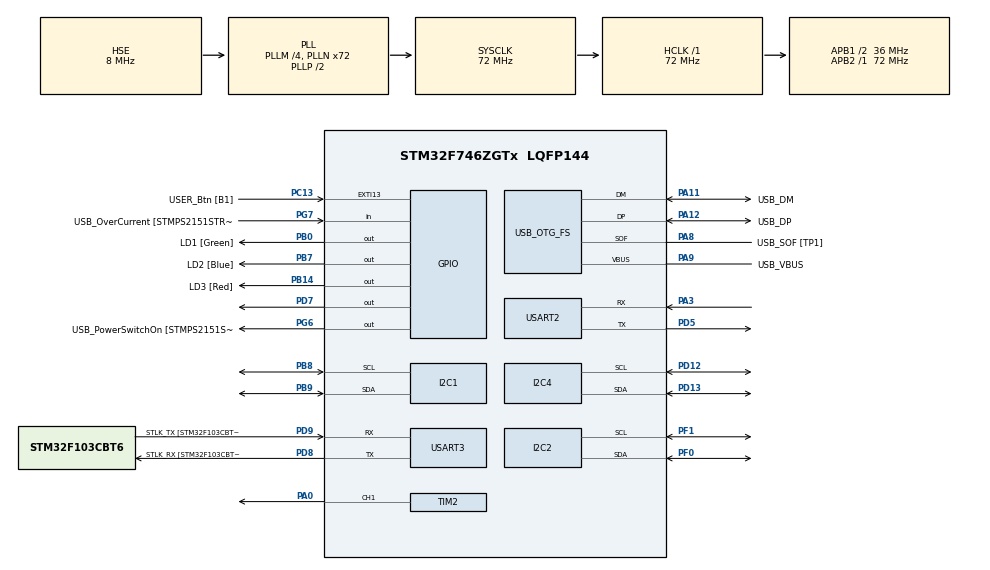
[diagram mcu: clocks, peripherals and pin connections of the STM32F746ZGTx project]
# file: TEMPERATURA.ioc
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Dma.I2C4_RX.1.Direction=DMA_PERIPH_TO_MEMORY
Dma.I2C4_RX.1.FIFOMode=DMA_FIFOMODE_DISABLE
Dma.I2C4_RX.1.Instance=DMA1_Stream2
Dma.I2C4_RX.1.MemDataAlignment=DMA_MDATAALIGN_BYTE
Dma.I2C4_RX.1.MemInc=DMA_MINC_ENABLE
Dma.I2C4_RX.1.Mode=DMA_NORMAL
Dma.I2C4_RX.1.PeriphDataAlignment=DMA_PDATAALIGN_BYTE
Dma.I2C4_RX.1.PeriphInc=DMA_PINC_DISABLE
Dma.I2C4_RX.1.Priority=DMA_PRIORITY_LOW
Dma.Request0=USART3_RX
Dma.Request1=I2C4_RX
Dma.USART3_RX.0.Direction=DMA_PERIPH_TO_MEMORY
Dma.USART3_RX.0.FIFOMode=DMA_FIFOMODE_DISABLE
Dma.USART3_RX.0.Instance=DMA1_Stream1
Dma.USART3_RX.0.MemDataAlignment=DMA_MDATAALIGN_BYTE
Dma.USART3_RX.0.MemInc=DMA_MINC_ENABLE
Dma.USART3_RX.0.Mode=DMA_NORMAL
Dma.USART3_RX.0.PeriphDataAlignment=DMA_PDATAALIGN_BYTE
Dma.USART3_RX.0.PeriphInc=DMA_PINC_DISABLE
Dma.USART3_RX.0.Priority=DMA_PRIORITY_LOW
I2C1.Timing=0x00808CD2
I2C2.Timing=0x00808CD2
I2C4.I2C_Fall_Time=0
I2C4.I2C_Rise_Time=0
I2C4.Timing=0x00808CD2
Mcu.Family=STM32F7
Mcu.Name=STM32F746ZGTx
Mcu.Package=LQFP144
NVIC.DMA1_Stream1_IRQn=true\:0\:0\:false\:false\:true\:false\:true\:true
NVIC.DMA1_Stream2_IRQn=true\:0\:0\:false\:false\:true\:false\:true\:true
NVIC.I2C4_ER_IRQn=true\:0\:0\:false\:false\:true\:true\:true\:true
NVIC.I2C4_EV_IRQn=true\:0\:0\:false\:false\:true\:true\:true\:true
NVIC.PriorityGroup=NVIC_PRIORITYGROUP_4
NVIC.TIM7_IRQn=true\:0\:0\:false\:false\:true\:true\:true\:true
NVIC.USART3_IRQn=true\:0\:0\:false\:false\:true\:true\:true\:true
PA0/WKUP.Signal=S_TIM2_CH1_ETR
PA1.GPIO_Label=RMII_REF_CLK [LAN8742A-CZ-TR_REFCLK0]
PA1.Signal=ETH_REF_CLK
PA10.GPIO_Label=USB_ID
PA10.Signal=USB_OTG_FS_ID
PA11.GPIO_Label=USB_DM
PA11.Mode=Device_Only
PA11.Signal=USB_OTG_FS_DM
PA12.GPIO_Label=USB_DP
PA12.Mode=Device_Only
PA12.Signal=USB_OTG_FS_DP
PA13.GPIO_Label=TMS
PA13.Mode=Serial_Wire
PA13.Signal=SYS_JTMS-SWDIO
PA14.GPIO_Label=TCK
PA14.Mode=Serial_Wire
PA14.Signal=SYS_JTCK-SWCLK
PA2.GPIO_Label=RMII_MDIO [LAN8742A-CZ-TR_MDIO]
PA2.Signal=ETH_MDIO
PA3.Mode=Asynchronous
PA3.Signal=USART2_RX
PA7.GPIO_Label=RMII_CRS_DV [LAN8742A-CZ-TR_CRS_DV]
PA7.Signal=ETH_CRS_DV
PA8.GPIO_Label=USB_SOF [TP1]
PA8.Mode=Activate_SOF_FS
PA8.Signal=USB_OTG_FS_SOF
PA9.GPIO_Label=USB_VBUS
PA9.Mode=Activate_VBUS
PA9.Signal=USB_OTG_FS_VBUS
PB0.GPIO_Label=LD1 [Green]
PB0.Signal=GPIO_Output
PB13.GPIO_Label=RMII_TXD1 [LAN8742A-CZ-TR_TXD1]
PB13.Signal=ETH_TXD1
PB14.GPIO_Label=LD3 [Red]
PB14.Signal=GPIO_Output
PB3.GPIO_Label=SW0
PB3.Signal=SYS_JTDO-SWO
PB7.GPIO_Label=LD2 [Blue]
PB7.Signal=GPIO_Output
PB8.Mode=I2C
PB8.Signal=I2C1_SCL
PB9.Mode=I2C
PB9.Signal=I2C1_SDA
PC1.GPIO_Label=RMII_MDC [LAN8742A-CZ-TR_MDC]
PC1.Signal=ETH_MDC
PC13.GPIO_Label=USER_Btn [B1]
PC13.Signal=GPXTI13
PC14/OSC32_IN.Mode=LSE-External-Oscillator
PC14/OSC32_IN.Signal=RCC_OSC32_IN
PC15/OSC32_OUT.Mode=LSE-External-Oscillator
PC15/OSC32_OUT.Signal=RCC_OSC32_OUT
PC4.GPIO_Label=RMII_RXD0 [LAN8742A-CZ-TR_RXD0]
PC4.Signal=ETH_RXD0
PC5.GPIO_Label=RMII_RXD1 [LAN8742A-CZ-TR_RXD1]
PC5.Signal=ETH_RXD1
PD12.Mode=I2C
PD12.Signal=I2C4_SCL
PD13.Mode=I2C
PD13.Signal=I2C4_SDA
PD5.Mode=Asynchronous
PD5.Signal=USART2_TX
PD7.Signal=GPIO_Output
PD8.GPIO_Label=STLK_RX [STM32F103CBT6_PA3]
PD8.GPIO_PuPd=GPIO_PULLUP
PD8.Mode=Asynchronous
PD8.Signal=USART3_TX
PD9.GPIO_Label=STLK_TX [STM32F103CBT6_PA2]
PD9.GPIO_PuPd=GPIO_PULLUP
PD9.Mode=Asynchronous
PD9.Signal=USART3_RX
PF0.Mode=I2C
PF0.Signal=I2C2_SDA
PF1.Mode=I2C
PF1.Signal=I2C2_SCL
PG11.GPIO_Label=RMII_TX_EN [LAN8742A-CZ-TR_TXEN]
PG11.Signal=ETH_TX_EN
PG13.GPIO_Label=RMII_TXD0 [LAN8742A-CZ-TR_TXD0]
PG13.Signal=ETH_TXD0
PG6.GPIO_Label=USB_PowerSwitchOn [STMPS2151STR_EN]
PG6.Signal=GPIO_Output
PG7.GPIO_Label=USB_OverCurrent [STMPS2151STR_FAULT]
PG7.Signal=GPIO_Input
PH0/OSC_IN.GPIO_Label=MCO [STM32F103CBT6_PA8]
PH0/OSC_IN.Mode=HSE-External-Clock-Source
PH0/OSC_IN.Signal=RCC_OSC_IN
PH1/OSC_OUT.Mode=HSE-External-Clock-Source
PH1/OSC_OUT.Signal=RCC_OSC_OUT
ProjectManager.HeapSize=0x200
ProjectManager.StackSize=0x400
ProjectManager.TargetToolchain=STM32CubeIDE
RCC.48MHZClocksFreq_Value=24000000
RCC.AHBFreq_Value=72000000
RCC.APB1CLKDivider=RCC_HCLK_DIV2
RCC.APB1Freq_Value=36000000
RCC.APB1TimFreq_Value=72000000
RCC.APB2Freq_Value=72000000
RCC.APB2TimFreq_Value=72000000
RCC.CortexFreq_Value=72000000
RCC.HCLKFreq_Value=72000000
RCC.HSE_VALUE=8000000
RCC.HSI_VALUE=16000000
RCC.PLLM=4
RCC.PLLMUL=RCC_PLL_MUL9
RCC.PLLN=72
RCC.PLLQ=3
RCC.PRESCALERUSB=RCC_USBCLKSOURCE_PLL_DIV1_5
RCC.SYSCLKFreq_VALUE=72000000
RCC.SYSCLKSource=RCC_SYSCLKSOURCE_PLLCLK
RCC.SYSCLKSourceVirtual=RCC_SYSCLKSOURCE_PLLCLK
RCC.USBFreq_Value=48000000
RCC.VCOOutputFreq_Value=144000000
SH.S_TIM2_CH1_ETR.0=TIM2_CH1,PWM Generation1 CH1
TIM2.AutoReloadPreload=TIM_AUTORELOAD_PRELOAD_ENABLE
TIM2.Channel-PWM\ Generation1\ CH1=TIM_CHANNEL_1
TIM2.Period=999
TIM2.Prescaler=95
TIM7.Period=10000-1
TIM7.Prescaler=960-1
USART2.VirtualMode-Asynchronous=VM_ASYNC
USART3.VirtualMode-Asynchronous=VM_ASYNC
USB_OTG_FS.VirtualMode=Device_Only
VP_TIM7_VS_ClockSourceINT.Mode=Enable_Timer
board=NUCLEO-F746ZG

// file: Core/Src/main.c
/* USER CODE BEGIN Header */
/**
  ******************************************************************************
  * @file           : main.c
  * @brief          : Main program body
  ******************************************************************************
  * @attention
  *
  * Copyright (c) 2025 STMicroelectronics.
  * All rights reserved.
  *
  * This software is licensed under terms that can be found in the LICENSE file
  * in the root directory of this software component.
  * If no LICENSE file comes with this software, it is provided AS-IS.
  *
  ******************************************************************************
  */
/* USER CODE END Header */
#include "main.h"

/* USER CODE BEGIN Includes */
#include "stdio.h"
#include "stdlib.h"
#include "string.h"
#include "bmp180_for_stm32_hal.h"
#include "i2c-lcd.h"

/* USER CODE END Includes */

I2C_HandleTypeDef hi2c1;
I2C_HandleTypeDef hi2c2;
I2C_HandleTypeDef hi2c4;
DMA_HandleTypeDef hdma_i2c4_rx;

TIM_HandleTypeDef htim2;
TIM_HandleTypeDef htim7;

UART_HandleTypeDef huart2;
UART_HandleTypeDef huart3;
DMA_HandleTypeDef hdma_usart3_rx;

PCD_HandleTypeDef hpcd_USB_OTG_FS;

/* USER CODE BEGIN PV */

float temp_zadana=25;
float temperature;
float pwm_duty_f;
uint16_t pwm_duty_u = 0;
char rx_buffer[64];
uint8_t rx_index=0;
uint8_t rx_data;
float wypelnienie = 0;

/* USER CODE END PV */

void SystemClock_Config(void);
static void MX_GPIO_Init(void);
static void MX_DMA_Init(void);
static void MX_USART3_UART_Init(void);
static void MX_USB_OTG_FS_PCD_Init(void);
static void MX_I2C1_Init(void);
static void MX_TIM2_Init(void);
static void MX_TIM7_Init(void);
static void MX_I2C4_Init(void);
static void MX_I2C2_Init(void);
static void MX_USART2_UART_Init(void);

/* USER CODE BEGIN 0 */

void Test_LCD_Communication(void) {
    HAL_StatusTypeDef status;
    char msg[64];

    // Test komendy LCD
    uint8_t test_data[4] = {0x00, 0x00, 0x01, 0x01};  // Przykładowe dane do transmisji

    status = HAL_I2C_Master_Transmit(&hi2c4, 0x27<<1, &test_data, 4, 50000);
    if (status == HAL_OK) {
        snprintf(msg, sizeof(msg), "Komunikacja OK z adresem: 0x%02X\r\n", 0x27);
    } else if (status == HAL_BUSY) {
        snprintf(msg, sizeof(msg), "I2C Busy! Adres: 0x%02X\r\n", 0x27);
    } else if (status == HAL_ERROR) {
        snprintf(msg, sizeof(msg), "Blad komunikacji! Adres: 0x%02X\r\n", 0x27);
    } else if (status == HAL_TIMEOUT) {
        snprintf(msg, sizeof(msg), "Timeout! Adres: 0x%02X\r\n", 0x27);
    }
}

struct Controller{
	float Kp;
	float Ki;
	float Kd;
	float Tp;
	float prev_error;
	float prev_u_I;

};

float calculate_PID(struct Controller *PID, float referncyjna, float zmierzona){
	float u = 0;
	float error;
	float u_P, u_I , u_D;

	error = referncyjna - zmierzona;

	u_P = PID->Kp * error;

	if(error<1) u_I = PID->Ki * PID->Tp / 2.0 * (error + PID->prev_error) + PID->prev_u_I;
	PID->prev_u_I = u_I;
	u_D = (error - PID->prev_error) / PID->Tp;

	PID->prev_error = error;

	u = u_P + u_I + u_D;
	return u;
}

struct Controller PID1;

/* USER CODE END 0 */

int main(void)
{

  /* MCU Configuration--------------------------------------------------------*/

  /* Reset of all peripherals, Initializes the Flash interface and the Systick. */
  HAL_Init();

  /* Configure the system clock */
  SystemClock_Config();

  /* Initialize all configured peripherals */
  MX_GPIO_Init();
  MX_DMA_Init();
  MX_USART3_UART_Init();
  MX_USB_OTG_FS_PCD_Init();
  MX_I2C1_Init();
  MX_TIM2_Init();
  MX_TIM7_Init();
  MX_I2C4_Init();
  MX_I2C2_Init();
  MX_USART2_UART_Init();
  /* USER CODE BEGIN 2 */
	HAL_TIM_PWM_Start(&htim2, TIM_CHANNEL_1);
	HAL_TIM_Base_Start_IT(&htim7);

	/* Initializes BMP180 sensor and oversampling settings. */
	BMP180_Init(&hi2c1);
	BMP180_SetOversampling(BMP180_ULTRA);
	/* Update calibration data. Must be called once before entering main loop. */
	BMP180_UpdateCalibrationData();

	PID1.Kp = 3.390911355021315;
	PID1.Ki = 0.000304836913931922;
	PID1.Kd = 3.3740543505038;
	PID1.Tp = 1;
	PID1.prev_error = 0;
	PID1.prev_u_I = 0;

	lcd_init();
	lcd_clear();
	lcd_put_cur(0, 0);
	Test_LCD_Communication();
	char buffer;

	HAL_UART_Receive_IT(&huart3, &rx_data, 1);
	rx_buffer[0] = '2';
	rx_buffer[1] = '5';
	rx_buffer[2] = '\0';

  /* USER CODE END 2 */

  /* Infinite loop */
  /* USER CODE BEGIN WHILE */
	while (1) {
		/* Reads temperature. */
		temperature = BMP180_GetRawTemperature();

		sprintf(buffer, "%.2f", temperature);  // Zaokrąglenie do 2 miejsc po przecinku
		lcd_put_cur(0, 0);
		lcd_send_string (buffer);
		HAL_Delay(1000);

		temp_zadana=strtof(rx_buffer,NULL);
		wypelnienie = (float)((float)TIM2->CCR1 / (float)TIM2->ARR) * 100;

		char buffer5[64];
		char buffer6[64];

		snprintf(buffer5,sizeof(buffer5),"%.2f|%.2f\n",temp_zadana, temperature);
		snprintf(buffer6,sizeof(buffer6),"%.2f\n",wypelnienie);

		HAL_UART_Transmit(&huart3,(uint8_t *)buffer5,strlen(buffer5),10);
		HAL_UART_Transmit(&huart3,(uint8_t *)buffer6,strlen(buffer6),10);

    /* USER CODE END WHILE */

	}
}

void SystemClock_Config(void)
{
  RCC_OscInitTypeDef RCC_OscInitStruct = {0};
  RCC_ClkInitTypeDef RCC_ClkInitStruct = {0};

  /** Configure LSE Drive Capability
  */
  HAL_PWR_EnableBkUpAccess();

  /** Configure the main internal regulator output voltage
  */
  __HAL_RCC_PWR_CLK_ENABLE();
  __HAL_PWR_VOLTAGESCALING_CONFIG(PWR_REGULATOR_VOLTAGE_SCALE3);

  /** Initializes the RCC Oscillators according to the specified parameters
  * in the RCC_OscInitTypeDef structure.
  */
  RCC_OscInitStruct.OscillatorType = RCC_OSCILLATORTYPE_HSE;
  RCC_OscInitStruct.HSEState = RCC_HSE_BYPASS;
  RCC_OscInitStruct.PLL.PLLState = RCC_PLL_ON;
  RCC_OscInitStruct.PLL.PLLSource = RCC_PLLSOURCE_HSE;
  RCC_OscInitStruct.PLL.PLLM = 4;
  RCC_OscInitStruct.PLL.PLLN = 72;
  RCC_OscInitStruct.PLL.PLLP = RCC_PLLP_DIV2;
  RCC_OscInitStruct.PLL.PLLQ = 3;
  if (HAL_RCC_OscConfig(&RCC_OscInitStruct) != HAL_OK)
  {
    Error_Handler();
  }

  /** Initializes the CPU, AHB and APB buses clocks
  */
  RCC_ClkInitStruct.ClockType = RCC_CLOCKTYPE_HCLK|RCC_CLOCKTYPE_SYSCLK
                              |RCC_CLOCKTYPE_PCLK1|RCC_CLOCKTYPE_PCLK2;
  RCC_ClkInitStruct.SYSCLKSource = RCC_SYSCLKSOURCE_PLLCLK;
  RCC_ClkInitStruct.AHBCLKDivider = RCC_SYSCLK_DIV1;
  RCC_ClkInitStruct.APB1CLKDivider = RCC_HCLK_DIV2;
  RCC_ClkInitStruct.APB2CLKDivider = RCC_HCLK_DIV1;

  if (HAL_RCC_ClockConfig(&RCC_ClkInitStruct, FLASH_LATENCY_2) != HAL_OK)
  {
    Error_Handler();
  }
}

static void MX_I2C1_Init(void)
{

  hi2c1.Instance = I2C1;
  hi2c1.Init.Timing = 0x00808CD2;
  hi2c1.Init.OwnAddress1 = 0;
  hi2c1.Init.AddressingMode = I2C_ADDRESSINGMODE_7BIT;
  hi2c1.Init.DualAddressMode = I2C_DUALADDRESS_DISABLE;
  hi2c1.Init.OwnAddress2 = 0;
  hi2c1.Init.OwnAddress2Masks = I2C_OA2_NOMASK;
  hi2c1.Init.GeneralCallMode = I2C_GENERALCALL_DISABLE;
  hi2c1.Init.NoStretchMode = I2C_NOSTRETCH_DISABLE;
  if (HAL_I2C_Init(&hi2c1) != HAL_OK)
  {
    Error_Handler();
  }

  /** Configure Analogue filter
  */
  if (HAL_I2CEx_ConfigAnalogFilter(&hi2c1, I2C_ANALOGFILTER_ENABLE) != HAL_OK)
  {
    Error_Handler();
  }

  /** Configure Digital filter
  */
  if (HAL_I2CEx_ConfigDigitalFilter(&hi2c1, 0) != HAL_OK)
  {
    Error_Handler();
  }

}

static void MX_I2C2_Init(void)
{

  hi2c2.Instance = I2C2;
  hi2c2.Init.Timing = 0x00808CD2;
  hi2c2.Init.OwnAddress1 = 0;
  hi2c2.Init.AddressingMode = I2C_ADDRESSINGMODE_7BIT;
  hi2c2.Init.DualAddressMode = I2C_DUALADDRESS_DISABLE;
  hi2c2.Init.OwnAddress2 = 0;
  hi2c2.Init.OwnAddress2Masks = I2C_OA2_NOMASK;
  hi2c2.Init.GeneralCallMode = I2C_GENERALCALL_DISABLE;
  hi2c2.Init.NoStretchMode = I2C_NOSTRETCH_DISABLE;
  if (HAL_I2C_Init(&hi2c2) != HAL_OK)
  {
    Error_Handler();
  }

  /** Configure Analogue filter
  */
  if (HAL_I2CEx_ConfigAnalogFilter(&hi2c2, I2C_ANALOGFILTER_ENABLE) != HAL_OK)
  {
    Error_Handler();
  }

  /** Configure Digital filter
  */
  if (HAL_I2CEx_ConfigDigitalFilter(&hi2c2, 0) != HAL_OK)
  {
    Error_Handler();
  }

}

static void MX_I2C4_Init(void)
{

  hi2c4.Instance = I2C4;
  hi2c4.Init.Timing = 0x00808CD2;
  hi2c4.Init.OwnAddress1 = 0;
  hi2c4.Init.AddressingMode = I2C_ADDRESSINGMODE_7BIT;
  hi2c4.Init.DualAddressMode = I2C_DUALADDRESS_DISABLE;
  hi2c4.Init.OwnAddress2 = 0;
  hi2c4.Init.OwnAddress2Masks = I2C_OA2_NOMASK;
  hi2c4.Init.GeneralCallMode = I2C_GENERALCALL_DISABLE;
  hi2c4.Init.NoStretchMode = I2C_NOSTRETCH_DISABLE;
  if (HAL_I2C_Init(&hi2c4) != HAL_OK)
  {
    Error_Handler();
  }

  /** Configure Analogue filter
  */
  if (HAL_I2CEx_ConfigAnalogFilter(&hi2c4, I2C_ANALOGFILTER_ENABLE) != HAL_OK)
  {
    Error_Handler();
  }

  /** Configure Digital filter
  */
  if (HAL_I2CEx_ConfigDigitalFilter(&hi2c4, 0) != HAL_OK)
  {
    Error_Handler();
  }

}

static void MX_TIM2_Init(void)
{

  TIM_MasterConfigTypeDef sMasterConfig = {0};
  TIM_OC_InitTypeDef sConfigOC = {0};

  htim2.Instance = TIM2;
  htim2.Init.Prescaler = 95;
  htim2.Init.CounterMode = TIM_COUNTERMODE_UP;
  htim2.Init.Period = 999;
  htim2.Init.ClockDivision = TIM_CLOCKDIVISION_DIV1;
  htim2.Init.AutoReloadPreload = TIM_AUTORELOAD_PRELOAD_ENABLE;
  if (HAL_TIM_PWM_Init(&htim2) != HAL_OK)
  {
    Error_Handler();
  }
  sMasterConfig.MasterOutputTrigger = TIM_TRGO_RESET;
  sMasterConfig.MasterSlaveMode = TIM_MASTERSLAVEMODE_DISABLE;
  if (HAL_TIMEx_MasterConfigSynchronization(&htim2, &sMasterConfig) != HAL_OK)
  {
    Error_Handler();
  }
  sConfigOC.OCMode = TIM_OCMODE_PWM1;
  sConfigOC.Pulse = 0;
  sConfigOC.OCPolarity = TIM_OCPOLARITY_HIGH;
  sConfigOC.OCFastMode = TIM_OCFAST_DISABLE;
  if (HAL_TIM_PWM_ConfigChannel(&htim2, &sConfigOC, TIM_CHANNEL_1) != HAL_OK)
  {
    Error_Handler();
  }
  /* USER CODE BEGIN TIM2_Init 2 */
  // Funkcja przerwania timera

  /* USER CODE END TIM2_Init 2 */
  HAL_TIM_MspPostInit(&htim2);

}

static void MX_TIM7_Init(void)
{

  TIM_MasterConfigTypeDef sMasterConfig = {0};

  htim7.Instance = TIM7;
  htim7.Init.Prescaler = 960-1;
  htim7.Init.CounterMode = TIM_COUNTERMODE_UP;
  htim7.Init.Period = 10000-1;
  htim7.Init.AutoReloadPreload = TIM_AUTORELOAD_PRELOAD_DISABLE;
  if (HAL_TIM_Base_Init(&htim7) != HAL_OK)
  {
    Error_Handler();
  }
  sMasterConfig.MasterOutputTrigger = TIM_TRGO_RESET;
  sMasterConfig.MasterSlaveMode = TIM_MASTERSLAVEMODE_DISABLE;
  if (HAL_TIMEx_MasterConfigSynchronization(&htim7, &sMasterConfig) != HAL_OK)
  {
    Error_Handler();
  }

}

static void MX_USART2_UART_Init(void)
{

  huart2.Instance = USART2;
  huart2.Init.BaudRate = 115200;
  huart2.Init.WordLength = UART_WORDLENGTH_8B;
  huart2.Init.StopBits = UART_STOPBITS_1;
  huart2.Init.Parity = UART_PARITY_NONE;
  huart2.Init.Mode = UART_MODE_TX_RX;
  huart2.Init.HwFlowCtl = UART_HWCONTROL_NONE;
  huart2.Init.OverSampling = UART_OVERSAMPLING_16;
  huart2.Init.OneBitSampling = UART_ONE_BIT_SAMPLE_DISABLE;
  huart2.AdvancedInit.AdvFeatureInit = UART_ADVFEATURE_NO_INIT;
  if (HAL_UART_Init(&huart2) != HAL_OK)
  {
    Error_Handler();
  }

}

static void MX_USART3_UART_Init(void)
{

  huart3.Instance = USART3;
  huart3.Init.BaudRate = 115200;
  huart3.Init.WordLength = UART_WORDLENGTH_8B;
  huart3.Init.StopBits = UART_STOPBITS_1;
  huart3.Init.Parity = UART_PARITY_NONE;
  huart3.Init.Mode = UART_MODE_TX_RX;
  huart3.Init.HwFlowCtl = UART_HWCONTROL_NONE;
  huart3.Init.OverSampling = UART_OVERSAMPLING_16;
  huart3.Init.OneBitSampling = UART_ONE_BIT_SAMPLE_DISABLE;
  huart3.AdvancedInit.AdvFeatureInit = UART_ADVFEATURE_NO_INIT;
  if (HAL_UART_Init(&huart3) != HAL_OK)
  {
    Error_Handler();
  }

}

static void MX_USB_OTG_FS_PCD_Init(void)
{

  hpcd_USB_OTG_FS.Instance = USB_OTG_FS;
  hpcd_USB_OTG_FS.Init.dev_endpoints = 6;
  hpcd_USB_OTG_FS.Init.speed = PCD_SPEED_FULL;
  hpcd_USB_OTG_FS.Init.dma_enable = DISABLE;
  hpcd_USB_OTG_FS.Init.phy_itface = PCD_PHY_EMBEDDED;
  hpcd_USB_OTG_FS.Init.Sof_enable = ENABLE;
  hpcd_USB_OTG_FS.Init.low_power_enable = DISABLE;
  hpcd_USB_OTG_FS.Init.lpm_enable = DISABLE;
  hpcd_USB_OTG_FS.Init.vbus_sensing_enable = ENABLE;
  hpcd_USB_OTG_FS.Init.use_dedicated_ep1 = DISABLE;
  if (HAL_PCD_Init(&hpcd_USB_OTG_FS) != HAL_OK)
  {
    Error_Handler();
  }

}

static void MX_DMA_Init(void)
{

  /* DMA controller clock enable */
  __HAL_RCC_DMA1_CLK_ENABLE();

  /* DMA interrupt init */
  /* DMA1_Stream1_IRQn interrupt configuration */
  HAL_NVIC_SetPriority(DMA1_Stream1_IRQn, 0, 0);
  HAL_NVIC_EnableIRQ(DMA1_Stream1_IRQn);
  /* DMA1_Stream2_IRQn interrupt configuration */
  HAL_NVIC_SetPriority(DMA1_Stream2_IRQn, 0, 0);
  HAL_NVIC_EnableIRQ(DMA1_Stream2_IRQn);

}

static void MX_GPIO_Init(void)
{
  GPIO_InitTypeDef GPIO_InitStruct = {0};

  /* GPIO Ports Clock Enable */
  __HAL_RCC_GPIOC_CLK_ENABLE();
  __HAL_RCC_GPIOF_CLK_ENABLE();
  __HAL_RCC_GPIOH_CLK_ENABLE();
  __HAL_RCC_GPIOA_CLK_ENABLE();
  __HAL_RCC_GPIOB_CLK_ENABLE();
  __HAL_RCC_GPIOD_CLK_ENABLE();
  __HAL_RCC_GPIOG_CLK_ENABLE();

  /*Configure GPIO pin Output Level */
  HAL_GPIO_WritePin(GPIOB, LD1_Pin|LD3_Pin|LD2_Pin, GPIO_PIN_RESET);

  /*Configure GPIO pin Output Level */
  HAL_GPIO_WritePin(USB_PowerSwitchOn_GPIO_Port, USB_PowerSwitchOn_Pin, GPIO_PIN_RESET);

  /*Configure GPIO pin Output Level */
  HAL_GPIO_WritePin(GPIOD, GPIO_PIN_7, GPIO_PIN_RESET);

  /*Configure GPIO pin : USER_Btn_Pin */
  GPIO_InitStruct.Pin = USER_Btn_Pin;
  GPIO_InitStruct.Mode = GPIO_MODE_IT_RISING;
  GPIO_InitStruct.Pull = GPIO_NOPULL;
  HAL_GPIO_Init(USER_Btn_GPIO_Port, &GPIO_InitStruct);

  /*Configure GPIO pins : RMII_MDC_Pin RMII_RXD0_Pin RMII_RXD1_Pin */
  GPIO_InitStruct.Pin = RMII_MDC_Pin|RMII_RXD0_Pin|RMII_RXD1_Pin;
  GPIO_InitStruct.Mode = GPIO_MODE_AF_PP;
  GPIO_InitStruct.Pull = GPIO_NOPULL;
  GPIO_InitStruct.Speed = GPIO_SPEED_FREQ_VERY_HIGH;
  GPIO_InitStruct.Alternate = GPIO_AF11_ETH;
  HAL_GPIO_Init(GPIOC, &GPIO_InitStruct);

  /*Configure GPIO pins : RMII_REF_CLK_Pin RMII_MDIO_Pin RMII_CRS_DV_Pin */
  GPIO_InitStruct.Pin = RMII_REF_CLK_Pin|RMII_MDIO_Pin|RMII_CRS_DV_Pin;
  GPIO_InitStruct.Mode = GPIO_MODE_AF_PP;
  GPIO_InitStruct.Pull = GPIO_NOPULL;
  GPIO_InitStruct.Speed = GPIO_SPEED_FREQ_VERY_HIGH;
  GPIO_InitStruct.Alternate = GPIO_AF11_ETH;
  HAL_GPIO_Init(GPIOA, &GPIO_InitStruct);

  /*Configure GPIO pins : LD1_Pin LD3_Pin LD2_Pin */
  GPIO_InitStruct.Pin = LD1_Pin|LD3_Pin|LD2_Pin;
  GPIO_InitStruct.Mode = GPIO_MODE_OUTPUT_PP;
  GPIO_InitStruct.Pull = GPIO_NOPULL;
  GPIO_InitStruct.Speed = GPIO_SPEED_FREQ_LOW;
  HAL_GPIO_Init(GPIOB, &GPIO_InitStruct);

  /*Configure GPIO pin : RMII_TXD1_Pin */
  GPIO_InitStruct.Pin = RMII_TXD1_Pin;
  GPIO_InitStruct.Mode = GPIO_MODE_AF_PP;
  GPIO_InitStruct.Pull = GPIO_NOPULL;
  GPIO_InitStruct.Speed = GPIO_SPEED_FREQ_VERY_HIGH;
  GPIO_InitStruct.Alternate = GPIO_AF11_ETH;
  HAL_GPIO_Init(RMII_TXD1_GPIO_Port, &GPIO_InitStruct);

  /*Configure GPIO pin : USB_PowerSwitchOn_Pin */
  GPIO_InitStruct.Pin = USB_PowerSwitchOn_Pin;
  GPIO_InitStruct.Mode = GPIO_MODE_OUTPUT_PP;
  GPIO_InitStruct.Pull = GPIO_NOPULL;
  GPIO_InitStruct.Speed = GPIO_SPEED_FREQ_LOW;
  HAL_GPIO_Init(USB_PowerSwitchOn_GPIO_Port, &GPIO_InitStruct);

  /*Configure GPIO pin : USB_OverCurrent_Pin */
  GPIO_InitStruct.Pin = USB_OverCurrent_Pin;
  GPIO_InitStruct.Mode = GPIO_MODE_INPUT;
  GPIO_InitStruct.Pull = GPIO_NOPULL;
  HAL_GPIO_Init(USB_OverCurrent_GPIO_Port, &GPIO_InitStruct);

  /*Configure GPIO pin : PD7 */
  GPIO_InitStruct.Pin = GPIO_PIN_7;
  GPIO_InitStruct.Mode = GPIO_MODE_OUTPUT_PP;
  GPIO_InitStruct.Pull = GPIO_NOPULL;
  GPIO_InitStruct.Speed = GPIO_SPEED_FREQ_LOW;
  HAL_GPIO_Init(GPIOD, &GPIO_InitStruct);

  /*Configure GPIO pins : RMII_TX_EN_Pin RMII_TXD0_Pin */
  GPIO_InitStruct.Pin = RMII_TX_EN_Pin|RMII_TXD0_Pin;
  GPIO_InitStruct.Mode = GPIO_MODE_AF_PP;
  GPIO_InitStruct.Pull = GPIO_NOPULL;
  GPIO_InitStruct.Speed = GPIO_SPEED_FREQ_VERY_HIGH;
  GPIO_InitStruct.Alternate = GPIO_AF11_ETH;
  HAL_GPIO_Init(GPIOG, &GPIO_InitStruct);

}

/* USER CODE BEGIN 4 */

void HAL_TIM_PeriodElapsedCallback(TIM_HandleTypeDef *htim){
	if(htim->Instance == TIM7){
        pwm_duty_f = (htim2.Init.Period * calculate_PID(&PID1, temp_zadana, temperature));

                // Saturation
                if(pwm_duty_f < 0.0) pwm_duty_u = 0;
                else if(pwm_duty_f > htim2.Init.Period) pwm_duty_u = htim2.Init.Period;
                else pwm_duty_u = (uint16_t) pwm_duty_f;

                __HAL_TIM_SET_COMPARE(&htim2, TIM_CHANNEL_1, pwm_duty_u);
	}
}

void HAL_UART_RxCpltCallback(UART_HandleTypeDef *huart) {
    if (huart->Instance == USART3) {
        if (rx_data == '\n') {
            rx_buffer[rx_index] = '\0'; // znak końca stringa
            rx_index = 0;
        } else {
            if (rx_index < 64 - 1) {
                rx_buffer[rx_index++] = rx_data;
            }
        }
        HAL_UART_Receive_IT(&huart3, &rx_data, 1);
    }
}

/* USER CODE END 4 */

void Error_Handler(void)
{
}
